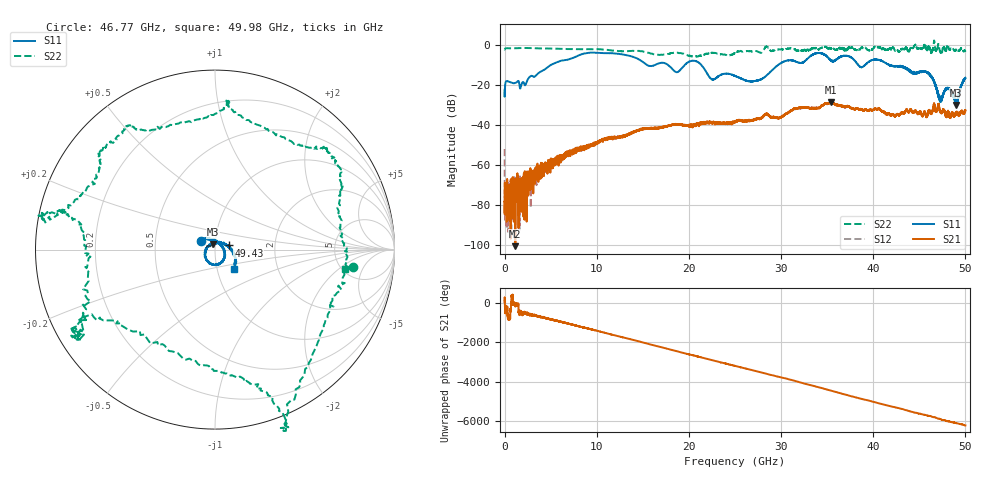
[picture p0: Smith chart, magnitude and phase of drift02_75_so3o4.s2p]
!Created with skrf (http://scikit-rf.org).
# Hz S RI R 50.0
!freq ReS11 ImS11 ReS21 ImS21 ReS12 ImS12 ReS22 ImS22
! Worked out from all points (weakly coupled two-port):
!   10001 points, 300 kHz to 50 GHz, reference 50 ohm
!   highest |S21| = -28.56 dB at 35.44 GHz (marker M1); lowest = -100.6 dB at 1.165 GHz (marker M2)
!   lowest |S11| = -29.8 dB at 49.02 GHz (marker M3), VSWR 1.07, Z = 48.9 + j2.99 ohm
!   |S11| at or under -10 dB: start of sweep to 4.957 GHz; 21.39 GHz to 29.63 GHz (8.247 GHz wide, 32.3 % of centre); 41.88 GHz to end of sweep (the widest 3 of 10)
!   |S22| runs from -5.7 to 2.5 dB; largest |S21 - S12| = 0.0034
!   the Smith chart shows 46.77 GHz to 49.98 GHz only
!   S11 on the Smith chart (normalised r, x): 46.77 GHz: 0.85, +0.08; 49.43 GHz: 1.16, +0.05; 49.98 GHz: 1.21, -0.26
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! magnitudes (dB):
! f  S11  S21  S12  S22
! 300 kHz  -22.2  -78.2  -51.9  -2.1
! 260.3 MHz  -17.9  -84.2  -80.6  -1.4
! 1.165 GHz  -18.8  -100.6  -69.7  -1.4
! 8.335 GHz  -4.5  -51.7  -52.3  -1.9
! 16.67 GHz  -9.1  -41.4  -41.5  -4.7
! 18.7 GHz  -13.4  -39.7  -39.5  -3.7
! 20.6 GHz  -7.7  -40.0  -39.8  -5.7
! 22.51 GHz  -17.1  -38.9  -38.7  -3.7
! 25 GHz  -15.3  -38.1  -38.0  -3.9
! 27.5 GHz  -17.6  -36.5  -36.6  -3.2
! 30.22 GHz  -8.3  -35.4  -35.0  -2.0
! 33.34 GHz  -4.9  -31.4  -31.3  -1.6
! 35.44 GHz  -7.6  -28.6  -28.7  -1.6
! 41.67 GHz  -9.7  -34.0  -34.2  -1.9
! 45.78 GHz  -13.3  -35.6  -35.7  -1.9
! 46.77 GHz  -20.6  -33.2  -32.6  -2.2
! 47.28 GHz  -27.1  -33.6  -33.0  -3.3
! 48.11 GHz  -21.3  -33.1  -33.5  -0.4
! 49.02 GHz  -29.8  -33.8  -34.0  -2.0
! 49.43 GHz  -22.1  -34.1  -34.2  -2.2
! 49.98 GHz  -16.4  -33.1  -33.3  -2.7
! 50 GHz  -16.4  -32.6  -32.9  -2.7
